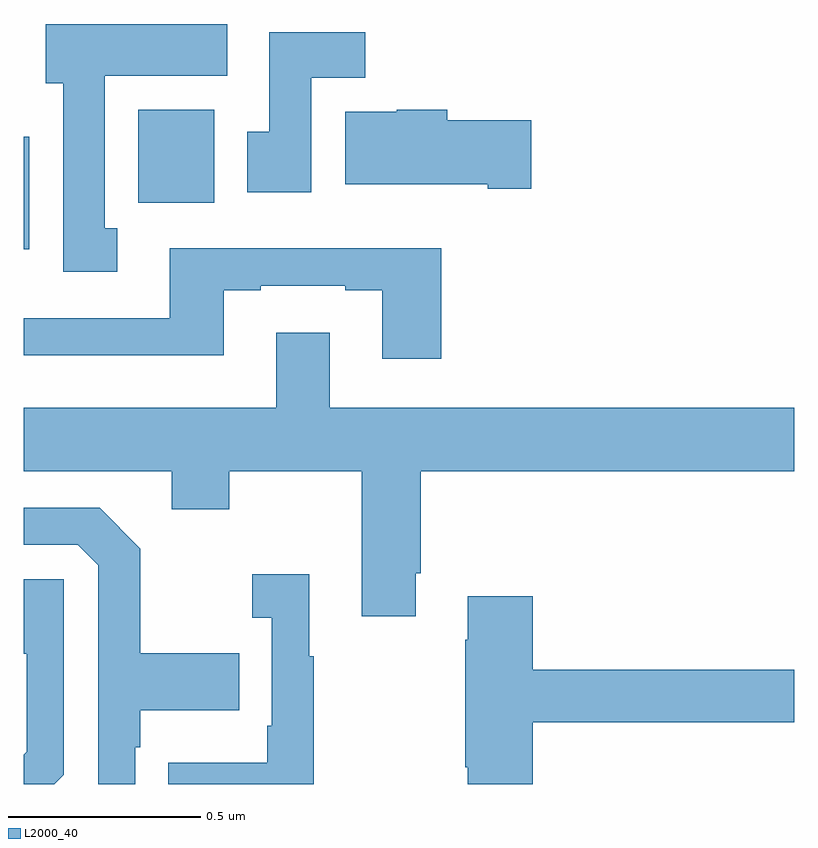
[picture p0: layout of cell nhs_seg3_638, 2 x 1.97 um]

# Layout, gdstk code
import gdstk
lib = gdstk.Library(unit=1e-6, precision=1e-09)
def R(c, l, rs):  # rectangles x0, y0, x1, y1
    for r in rs: c.add(gdstk.rectangle(r[:2], r[2:], *l))
def P(c, l, *ps):  # polygons
    for p in ps: c.add(gdstk.Polygon(p, *l))
L2000_40 = (2000, 40)

nhs_seg3_638 = lib.new_cell('nhs_seg3_638')
R(nhs_seg3_638, L2000_40, [(118,738.788,118.015,739.08), (118.298,738.908,118.495,739.15)])
P(nhs_seg3_638, L2000_40, [(118.243,738.842),(118.21,738.842),(118.21,739.238),(118.528,739.238),(118.528,739.372),(118.058,739.372),(118.058,739.218),(118.103,739.218),(118.103,738.729),(118.243,738.729)],
  [(118.747,739.232),(118.886,739.232),(118.886,739.351),(118.637,739.351),(118.637,739.092),(118.58,739.092),(118.58,738.936),(118.747,738.936)],
  [(119.317,739.122),(119.099,739.122),(119.099,739.15),(118.968,739.15),(118.968,739.144),(118.835,739.144),(118.835,738.956),(119.204,738.956),(119.204,738.944),(119.317,738.944)],
  [(119.084,738.79),(118.379,738.79),(118.379,738.609),(118,738.609),(118,738.512),(118.519,738.512),(118.519,738.681),(118.615,738.681),(118.615,738.693),(118.835,738.693),(118.835,738.681),(118.931,738.681),(118.931,738.504),(119.084,738.504)],
  [(119.017,737.947),(119.03,737.947),(119.03,738.212),(120,738.212),(120,738.376),(118.795,738.376),(118.795,738.571),(118.655,738.571),(118.655,738.376),(118,738.376),(118,738.212),(118.385,738.212),(118.385,738.113),(118.533,738.113),(118.533,738.212),(118.877,738.212),(118.877,737.835),(119.017,737.835)],
  [(118.29,737.495),(118.303,737.495),(118.303,737.591),(118.559,737.591),(118.559,737.739),(118.303,737.739),(118.303,738.011),(118.197,738.117),(118,738.117),(118,738.021),(118.14,738.021),(118.194,737.967),(118.194,737.4),(118.29,737.4)],
  [(118.753,737.731),(118.741,737.731),(118.741,737.944),(118.593,737.944),(118.593,737.831),(118.644,737.831),(118.644,737.551),(118.632,737.551),(118.632,737.455),(118.375,737.455),(118.375,737.4),(118.753,737.4)],
  [(118.104,737.424),(118.104,737.931),(118,737.931),(118,737.738),(118.008,737.738),(118.008,737.484),(118,737.476),(118,737.4),(118.08,737.4)],
  [(119.321,737.56),(120,737.56),(120,737.696),(119.321,737.696),(119.321,737.887),(119.153,737.887),(119.153,737.774),(119.146,737.774),(119.146,737.443),(119.153,737.443),(119.153,737.4),(119.321,737.4)])

lib.write_gds('nhs_seg3_638.gds')
